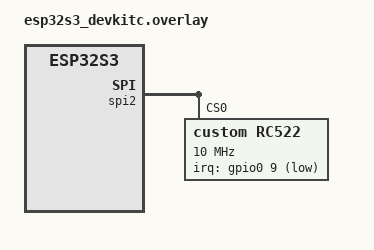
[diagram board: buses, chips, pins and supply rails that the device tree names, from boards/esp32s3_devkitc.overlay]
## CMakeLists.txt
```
# Custom Zephyr funtion that imports the button/ subdirectory if the Kconfig
# option CUSTOM_XXX is defined (XXX is device that have custom driver implemented)
add_subdirectory_ifdef(CONFIG_CUSTOM_BH1750 bh1750)
add_subdirectory_ifdef(CONFIG_CUSTOM_RC522 rc522)
```

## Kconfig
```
source "bh1750/Kconfig"
source "rc522/Kconfig"
```

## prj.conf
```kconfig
# CONFIG_I2C=y
CONFIG_LOG=y
CONFIG_LOG_DEFAULT_LEVEL=3
# CONFIG_CUSTOM_BH1750=y
# CONFIG_BH1750_CONTINUOUS_MODE=y
CONFIG_SPI=y
CONFIG_CUSTOM_RC522=y
CONFIG_MULTITHREADING=y
# CONFIG_DEBUG_OPTIMIZATIONS=y
# CONFIG_NO_OPTIMIZATIONS=y
```

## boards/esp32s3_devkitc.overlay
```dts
/ {
    aliases {
        // my-bh1750 = &bh1750;
        my-rc522 = &rc522;
    };

};

// &i2c0 {
//     status = "okay";

//     bh1750: bh1750@23 {
//         compatible = "custom,bh1750";
//         reg = <0x23>;
//         mode = <0>;
//     };
// };

&spi2 {
    rc522: rc522@0 {
        compatible = "custom,rc522";
        reg = <0>;
        spi-max-frequency = <10000000>;
        irq-gpios=<&gpio0 9 (GPIO_ACTIVE_LOW | GPIO_PULL_UP)>;
    };
};
```

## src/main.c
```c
#include <zephyr/kernel.h>
#include <zephyr/logging/log.h>
#include <stdint.h>
#include "rc522.h"

/* Get RC522 device node structure */
static const struct device* rc522 = DEVICE_DT_GET(DT_ALIAS(my_rc522));
/* Register logging module on main application for debug purpose */
LOG_MODULE_REGISTER(smart_door);

/* Callback function pass to MFRC522 driver */
void handle_MFRC522_UID(const uint8_t *uid, const uint8_t uidSize)
{
    /* Iterate variable */
    uint8_t i = 0u;

    /* Simple callback now, print UID to console when UID is detected */
    printk("UID: ");
    for(i = 0u; i < uidSize; i++)
    {
        printk("%x ", uid[i]);
    }
    printk("\r\n");
}

int main(void)
{
    /* Return value, expected 0 to process OK */
    int ret = 0u;
    
    /* Check MFRC522 should be ready before using */
    if(!device_is_ready(rc522))
    {
        LOG_ERR("[ERROR (%d)]: MFRC522 device is not ready to use\r\n", ret);
        ret = -ENODEV;
    }
    else
    {
        LOG_INF("MFRC522 is ready\r\n");
    }
    /* Application start only when all device is ready */
    if(!ret)
    {
        /* Get RC522 device driver API */
        const struct rc522_api* rc522_api_funcs = (const struct rc522_api*)rc522->api;
        rc522_api_funcs->startScanning(rc522, handle_MFRC522_UID);
    }

    while(1)
    {
        k_msleep(1000);
    }

    return ret;
}
```
